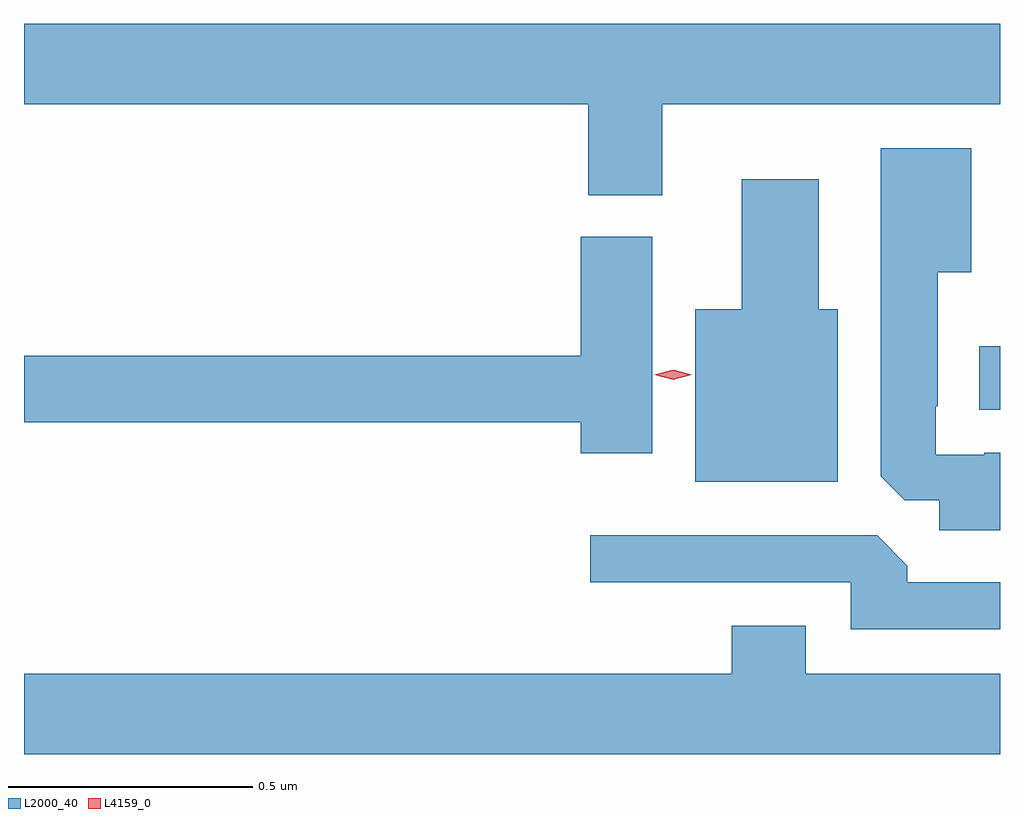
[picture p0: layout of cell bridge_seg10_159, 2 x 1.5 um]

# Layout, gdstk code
import gdstk
lib = gdstk.Library(unit=1e-6, precision=1e-09)
def R(c, l, rs):  # rectangles x0, y0, x1, y1
    for r in rs: c.add(gdstk.rectangle(r[:2], r[2:], *l))
def P(c, l, *ps):  # polygons
    for p in ps: c.add(gdstk.Polygon(p, *l))
L2000_40 = (2000, 40)
L4159_0 = (4159, 0)

bridge_seg10_159 = lib.new_cell('bridge_seg10_159')
R(bridge_seg10_159, L2000_40, [(256.076,1262.393,256.119,1262.524)])
P(bridge_seg10_159, L2000_40, [(255.427,1263.02),(256.119,1263.02),(256.119,1263.184),(254.119,1263.184),(254.119,1263.02),(255.275,1263.02),(255.275,1262.833),(255.427,1262.833)],
  [(256.119,1262.305),(256.087,1262.305),(256.087,1262.301),(255.987,1262.301),(255.987,1262.401),(255.991,1262.401),(255.991,1262.675),(256.06,1262.675),(256.06,1262.929),(255.875,1262.929),(255.875,1262.257),(255.924,1262.208),(255.995,1262.208),(255.995,1262.147),(256.119,1262.147)],
  [(255.787,1262.599),(255.748,1262.599),(255.748,1262.866),(255.59,1262.866),(255.59,1262.599),(255.494,1262.599),(255.494,1262.246),(255.787,1262.246)],
  [(255.406,1262.748),(255.26,1262.748),(255.26,1262.504),(254.119,1262.504),(254.119,1262.368),(255.26,1262.368),(255.26,1262.304),(255.406,1262.304)],
  [(256.119,1262.04),(255.929,1262.04),(255.929,1262.074),(255.867,1262.136),(255.279,1262.136),(255.279,1262.04),(255.813,1262.04),(255.813,1261.944),(256.119,1261.944)],
  [(256.119,1261.852),(255.721,1261.852),(255.721,1261.951),(255.569,1261.951),(255.569,1261.852),(254.119,1261.852),(254.119,1261.688),(256.119,1261.688)])
P(bridge_seg10_159, L4159_0, [(255.449,1262.455),(255.411,1262.465),(255.411,1262.465),(255.411,1262.465),(255.449,1262.475),(255.487,1262.465),(255.487,1262.465),(255.487,1262.465)])

lib.write_gds('bridge_seg10_159.gds')
